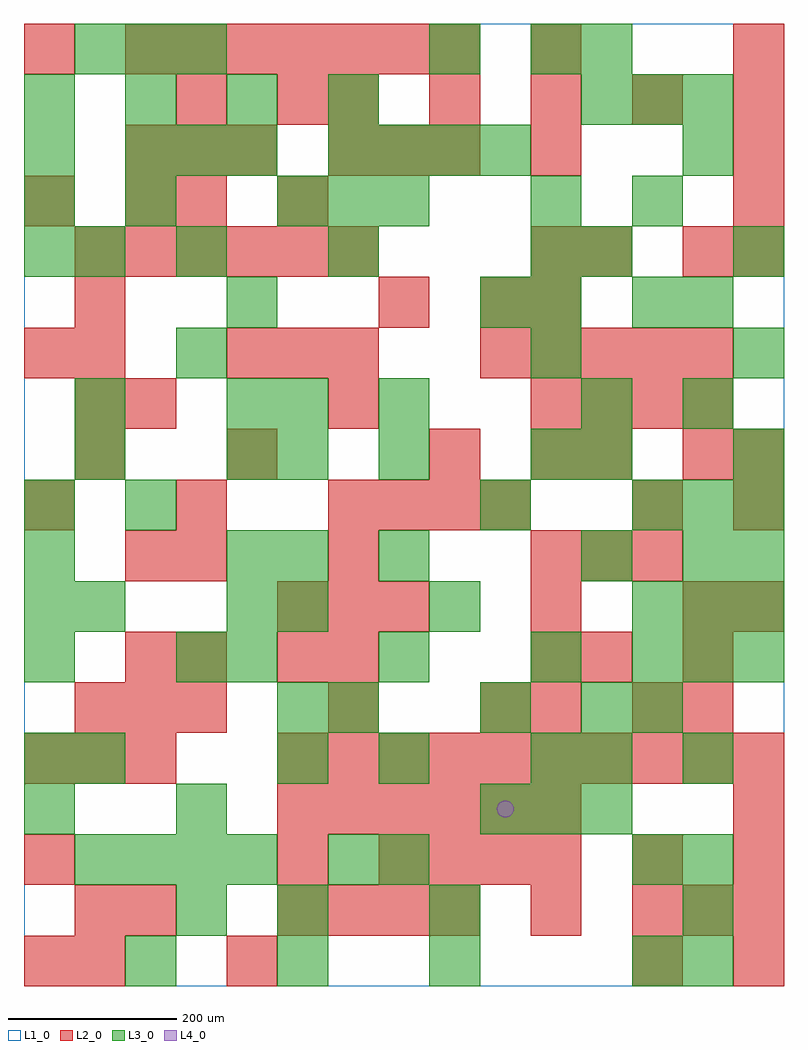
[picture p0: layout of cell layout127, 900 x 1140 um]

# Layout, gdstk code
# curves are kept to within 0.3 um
import gdstk
lib = gdstk.Library(unit=1e-6, precision=1e-09)
def R(c, l, rs):  # rectangles x0, y0, x1, y1
    for r in rs: c.add(gdstk.rectangle(r[:2], r[2:], *l))
def A(c, l, x, y, w, h, nx, ny, dx, dy):  # array of equal rectangles
    R(c, l, [(x+i*dx, y+j*dy, x+i*dx+w, y+j*dy+h) for i in range(nx) for j in range(ny)])
def P(c, l, *ps):  # polygons
    for p in ps: c.add(gdstk.Polygon(p, *l))
L1_0 = (1, 0)
L2_0 = (2, 0)
L3_0 = (3, 0)
L4_0 = (4, 0)

layout127 = lib.new_cell('layout127')
R(layout127, L1_0, [(0,0,900,1140)])
A(layout127, L2_0, 300, 60, 60, 60, 4, 1, 60, 0)
A(layout127, L2_0, 720, 60, 60, 60, 3, 1, 60, 0)
A(layout127, L2_0, 420, 120, 60, 60, 4, 1, 60, 0)
A(layout127, L2_0, 300, 180, 60, 60, 6, 1, 60, 0)
A(layout127, L2_0, 0, 240, 60, 60, 3, 1, 60, 0)
A(layout127, L2_0, 300, 240, 60, 60, 10, 1, 60, 0)
A(layout127, L2_0, 60, 300, 60, 60, 3, 1, 60, 0)
A(layout127, L2_0, 600, 300, 60, 60, 1, 3, 0, 60)
A(layout127, L2_0, 780, 300, 60, 60, 1, 3, 0, 60)
A(layout127, L2_0, 660, 360, 60, 60, 1, 3, 0, 240)
A(layout127, L2_0, 300, 420, 60, 60, 3, 1, 60, 0)
A(layout127, L2_0, 600, 480, 60, 60, 3, 1, 60, 0)
A(layout127, L2_0, 0, 540, 60, 60, 3, 1, 180, 0)
A(layout127, L2_0, 420, 540, 60, 60, 3, 1, 60, 0)
A(layout127, L2_0, 60, 600, 60, 60, 1, 4, 0, 60)
A(layout127, L2_0, 120, 660, 60, 60, 3, 1, 240, 0)
A(layout127, L2_0, 660, 660, 60, 60, 3, 1, 60, 0)
A(layout127, L2_0, 0, 720, 60, 60, 1, 3, 0, 180)
A(layout127, L2_0, 240, 720, 60, 60, 3, 1, 60, 0)
A(layout127, L2_0, 540, 720, 60, 60, 5, 1, 60, 0)
A(layout127, L2_0, 60, 840, 60, 60, 6, 1, 60, 0)
A(layout127, L2_0, 600, 840, 60, 60, 1, 3, 0, 120)
A(layout127, L2_0, 840, 840, 60, 60, 1, 3, 0, 60)
A(layout127, L2_0, 120, 960, 60, 60, 3, 1, 60, 0)
A(layout127, L2_0, 360, 960, 60, 60, 3, 1, 60, 0)
A(layout127, L2_0, 360, 1020, 60, 60, 5, 1, 120, 0)
A(layout127, L2_0, 120, 1080, 60, 60, 7, 1, 60, 0)
R(layout127, L2_0, [(0,0,60,60), (60,0,120,60), (240,0,300,60), (720,0,780,60), (840,0,900,60), (60,60,120,120), (120,60,180,120), (600,60,660,120), (0,120,60,180), (300,120,360,180), (720,120,780,180), (840,120,900,180), (840,180,900,240), (360,300,420,360), (540,300,600,360), (720,300,780,360), (120,360,180,420), (180,360,240,420), (300,360,360,420), (360,360,420,420), (840,420,900,480), (120,480,180,540), (180,480,240,540), (360,480,420,540), (720,540,780,600), (840,540,900,600), (240,600,300,660), (480,600,540,660), (600,600,660,660), (780,600,840,660), (840,600,900,660), (420,780,480,840), (540,780,600,840), (600,780,660,840), (780,840,840,900), (120,900,180,960), (180,900,240,960), (300,900,360,960), (180,1020,240,1080), (300,1020,360,1080), (840,1080,900,1140)])
A(layout127, L3_0, 120, 0, 60, 60, 3, 1, 180, 0)
A(layout127, L3_0, 780, 0, 60, 60, 1, 3, 0, 60)
A(layout127, L3_0, 60, 120, 60, 60, 4, 1, 60, 0)
A(layout127, L3_0, 540, 180, 60, 60, 3, 1, 60, 0)
A(layout127, L3_0, 60, 240, 60, 60, 1, 3, 0, 180)
A(layout127, L3_0, 540, 300, 60, 60, 1, 3, 0, 240)
A(layout127, L3_0, 0, 360, 60, 60, 1, 4, 0, 60)
A(layout127, L3_0, 240, 360, 60, 60, 3, 1, 180, 0)
A(layout127, L3_0, 720, 360, 60, 60, 3, 2, 60, 60)
A(layout127, L3_0, 840, 480, 60, 60, 1, 4, 0, 120)
A(layout127, L3_0, 720, 540, 60, 60, 3, 1, 60, 0)
A(layout127, L3_0, 600, 720, 60, 60, 1, 4, 0, 60)
A(layout127, L3_0, 0, 840, 60, 60, 1, 3, 0, 60)
A(layout127, L3_0, 300, 900, 60, 60, 3, 1, 60, 0)
A(layout127, L3_0, 120, 960, 60, 60, 3, 1, 60, 0)
A(layout127, L3_0, 360, 960, 60, 60, 4, 1, 60, 0)
A(layout127, L3_0, 0, 1020, 60, 60, 4, 1, 120, 0)
A(layout127, L3_0, 660, 1020, 60, 60, 3, 1, 60, 0)
A(layout127, L3_0, 60, 1080, 60, 60, 3, 1, 60, 0)
R(layout127, L3_0, [(720,0,780,60), (180,60,240,120), (300,60,360,120), (480,60,540,120), (360,120,420,180), (420,120,480,180), (720,120,780,180), (0,180,60,240), (180,180,240,240), (0,240,60,300), (300,240,360,300), (420,240,480,300), (600,240,660,300), (660,240,720,300), (780,240,840,300), (300,300,360,360), (360,300,420,360), (660,300,720,360), (720,300,780,360), (180,360,240,420), (240,420,300,480), (300,420,360,480), (480,420,540,480), (240,480,300,540), (300,480,360,540), (420,480,480,540), (660,480,720,540), (780,480,840,540), (120,540,180,600), (240,600,300,660), (300,600,360,660), (420,600,480,660), (600,600,660,660), (660,600,720,660), (60,660,120,720), (240,660,300,720), (300,660,360,720), (420,660,480,720), (660,660,720,720), (780,660,840,720), (180,720,240,780), (240,780,300,840), (720,780,780,840), (780,780,840,840), (60,840,120,900), (180,840,240,900), (360,840,420,900), (660,840,720,900), (120,900,180,960), (720,900,780,960), (780,960,840,1020), (480,1080,540,1140), (600,1080,660,1140), (660,1080,720,1140)])
P(layout127, L4_0, [(580,210),(579.239,213.827),(577.071,217.071),(573.827,219.239),(570,220),(566.173,219.239),(562.929,217.071),(560.761,213.827),(560,210),(560.761,206.173),(562.929,202.929),(566.173,200.761),(570,200),(573.827,200.761),(577.071,202.929),(579.239,206.173)])

lib.write_gds('layout127.gds')
